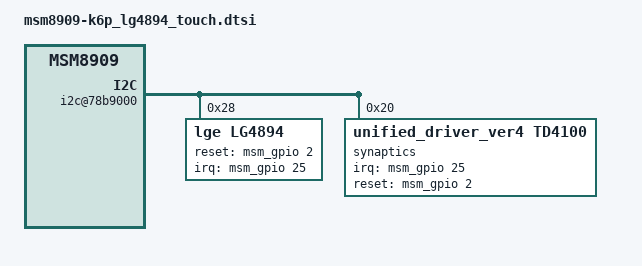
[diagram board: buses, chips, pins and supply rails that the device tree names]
/* Copyright (c) 2012, Code Aurora Forum. All rights reserved.
 *
 * This program is free software; you can redistribute it and/or modify
 * it under the terms of the GNU General Public License version 2 and
 * only version 2 as published by the Free Software Foundation.
 *
 * This program is distributed in the hope that it will be useful,
 * but WITHOUT ANY WARRANTY; without even the implied warranty of
 * MERCHANTABILITY or FITNESS FOR A PARTICULAR PURPOSE.  See the
 * GNU General Public License for more details.
 */

&soc {
	i2c@78b9000 { /* BLSP1 QUP5 */
		qcom,clk-freq-out = <400000>;

		lg4894@28 {
			status = "okay";
			compatible = "lge,lg4894";
			reg = <0x28>;

			/* GPIOs */
			reset-gpio	=	<&msm_gpio 2 0x00>;
			irq-gpio	=	<&msm_gpio 25 0x2002>;
			interrupt-parent = <&msm_gpio>;
			interrupts = <25 0x2002>;
			irqflags = <0x2002>;
			pinctrl-names = "touch_pin_active","touch_pin_sleep";
			pinctrl-0 = <&ts_int_active &ts_reset_active>;
			pinctrl-1 = <&ts_int_suspend &ts_reset_suspend>;

			/* Caps */
			max_x = <720>;
			max_y = <1280>;
			max_pressure = <0xff>;
			max_width = <15>;
			max_orientation = <1>;
			max_id = <10>;

			/* role */
			hw_reset_delay = <210>;
			sw_reset_delay = <90>;
			use_lpwg = <1>;
			use_lpwg_test = <1>;

			/* firmware */
			use_fw_upgrade = <1>;
			use_firmware = <0>;
			fw_image = "sic/lg4894/k6p/L0W53K6P_0_13.img", /* for revision 6   */
					   "sic/lg4894/k6p/L0W53K6P_0_26.img", /* for revision 7,8 */
					   "sic/lg4894/k6p/L0W53K6P_0_48.img"; /* for revision 9   */
			panel_spec = "sic/lg4894/k6p/k6p_limit.txt";
			panel_spec_mfts_folder = "sic/lg4894/k6p/k6p_limit_mfts.txt";
		};

		synaptics@20 {
			status = "okay";
			compatible = "unified_driver_ver4,td4100";
			reg = <0x20>;

			interrupt-parent = <&msm_gpio>;
			irq-gpio  =  <&msm_gpio 25 0x2002>;
			interrupts = <25 0x2002>;
			irqflags = <0x2002>;
			reset-gpio = <&msm_gpio 2 0x00>;


			pinctrl-names = "touch_pin_active","touch_pin_sleep";
			pinctrl-0 = <&ts_int_active &ts_reset_active>;
			pinctrl-1 = <&ts_int_suspend &ts_reset_suspend>;
		};
	};
};

